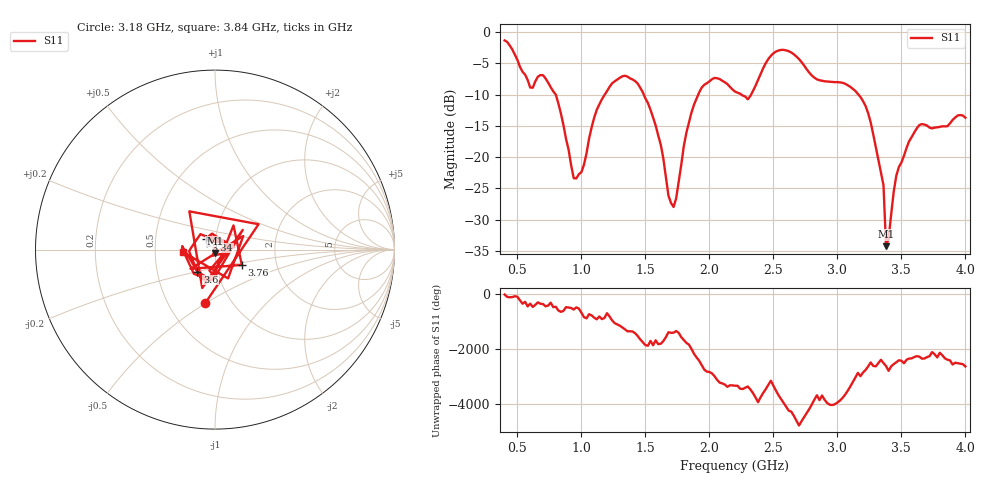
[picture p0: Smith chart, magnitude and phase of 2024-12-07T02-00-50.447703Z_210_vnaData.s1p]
!Created with skrf (http://scikit-rf.org).
# Hz S RI R 50.0
!freq ReS11 ImS11
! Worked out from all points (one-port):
!   181 points, 400 MHz to 4 GHz, reference 50 ohm
!   lowest |S11| = -34.2 dB at 3.38 GHz (marker M1), VSWR 1.04, Z = 49.9 - j1.93 ohm
!   |S11| at or under -10 dB: 800.1 MHz to 1.182 GHz (382.2 MHz wide, 38.6 % of centre); 1.487 GHz to 1.913 GHz (425.2 MHz wide, 25 % of centre); 3.165 GHz to end of sweep (the widest 3 of 4)
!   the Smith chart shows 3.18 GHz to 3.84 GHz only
!   S11 on the Smith chart (normalised r, x): 3.18 GHz: 0.76, -0.50; 3.34 GHz: 0.90, +0.10; 3.6 GHz: 0.80, -0.20; 3.76 GHz: 1.33, -0.23; 3.84 GHz: 0.70, -0.02
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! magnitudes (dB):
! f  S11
! 400 MHz  -1.3
! 600 MHz  -8.9
! 720 MHz  -7.4
! 860 MHz  -14.9
! 960 MHz  -23.4
! 1.12 GHz  -12.4
! 1.3 GHz  -7.3
! 1.52 GHz  -11.4
! 1.62 GHz  -18.0
! 1.7 GHz  -27.3
! 1.76 GHz  -24.0
! 1.82 GHz  -16.1
! 1.94 GHz  -8.9
! 2.2 GHz  -9.5
! 2.3 GHz  -10.8
! 2.5 GHz  -3.4
! 2.66 GHz  -3.6
! 3.1 GHz  -8.7
! 3.18 GHz  -10.4
! 3.34 GHz  -22.5
! 3.36 GHz  -24.5
! 3.38 GHz  -34.2
! 3.46 GHz  -23.0
! 3.56 GHz  -17.5
! 3.6 GHz  -16.1
! 3.76 GHz  -15.3
! 3.84 GHz  -15.1
! 4 GHz  -13.7
